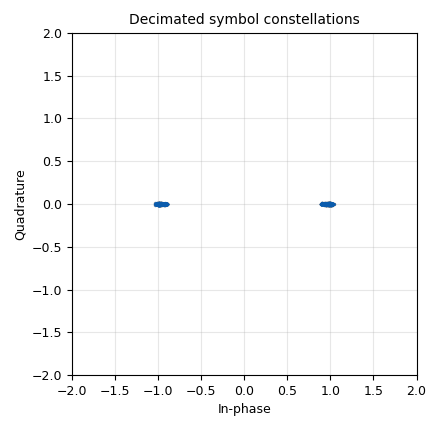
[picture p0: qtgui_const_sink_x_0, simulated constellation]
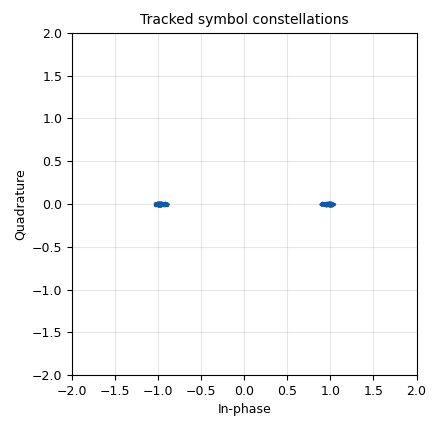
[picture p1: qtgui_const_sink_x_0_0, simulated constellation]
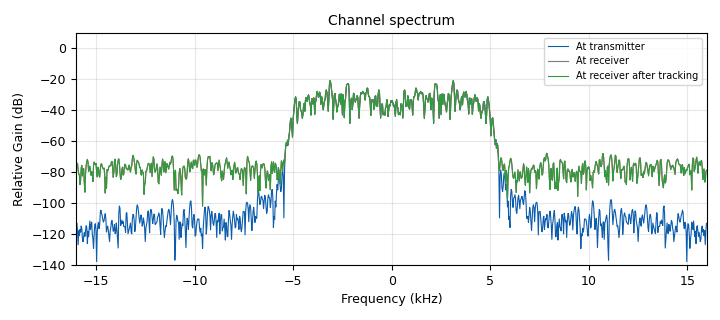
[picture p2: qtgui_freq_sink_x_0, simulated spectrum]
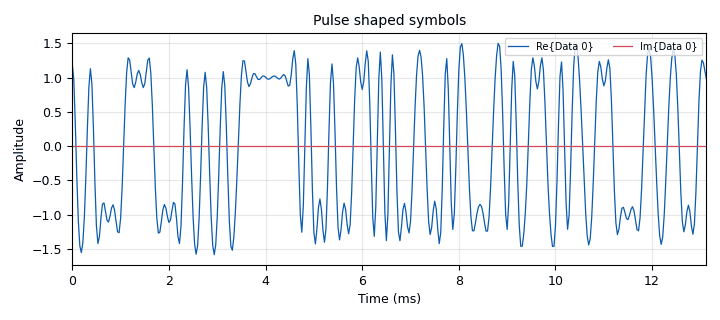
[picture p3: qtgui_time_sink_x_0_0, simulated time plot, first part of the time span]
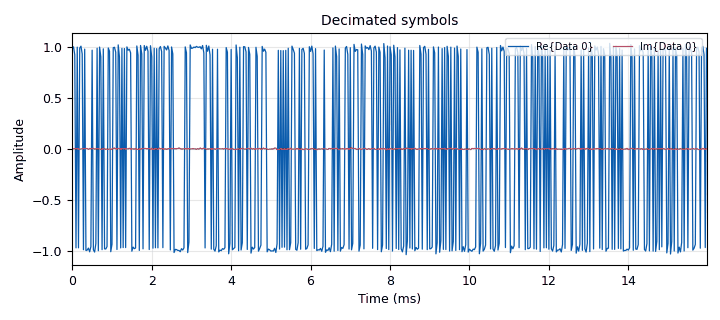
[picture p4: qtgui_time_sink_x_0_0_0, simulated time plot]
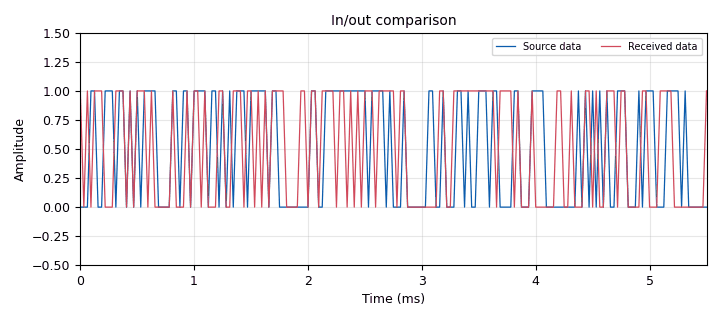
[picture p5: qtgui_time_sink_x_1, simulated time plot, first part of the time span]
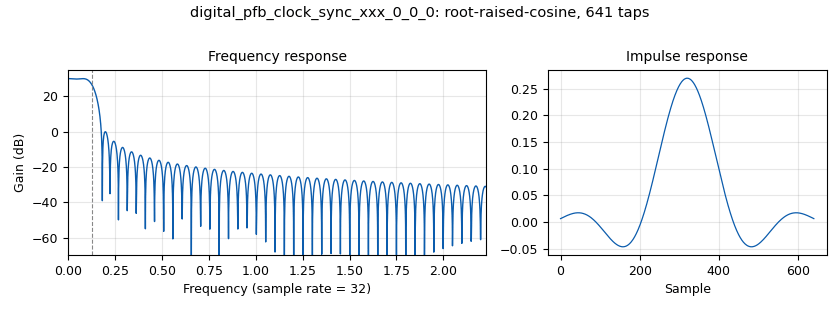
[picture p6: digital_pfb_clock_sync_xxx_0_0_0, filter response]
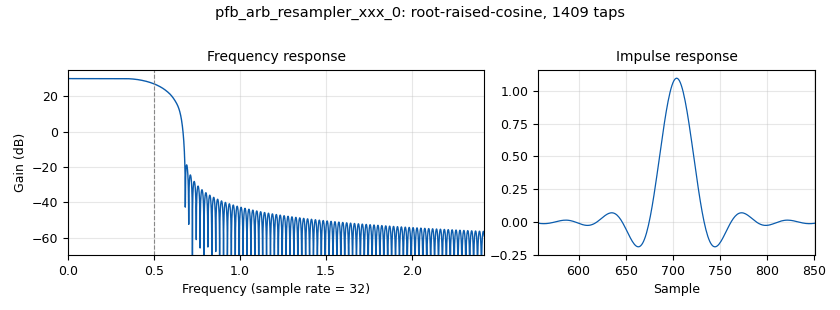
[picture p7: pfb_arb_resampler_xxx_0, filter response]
<?xml version='1.0' encoding='utf-8'?>
<?grc format='1' created='3.7.11'?>
<flow_graph>
<block>
<key>options</key>
<param><key>id</key><value>top_block</value></param>
<param><key>generate_options</key><value>qt_gui</value></param>
</block>
<block>
<key>variable</key>
<param><key>id</key><value>constel</value></param>
<param><key>value</key><value>digital.constellation_bpsk()</value></param>
</block>
<block>
<key>variable</key>
<param><key>id</key><value>eb</value></param>
<param><key>value</key><value>0.35</value></param>
</block>
<block>
<key>variable_qtgui_range</key>
<param><key>id</key><value>freq_offset</value></param>
<param><key>value</key><value>0</value></param>
<param><key>gui_hint</key><value>21,0,1,1</value></param>
<param><key>label</key><value>Frequency Offset</value></param>
<param><key>orient</key><value>Qt.Horizontal</value></param>
<param><key>start</key><value>-0.1</value></param>
<param><key>step</key><value>0.0001</value></param>
<param><key>stop</key><value>0.1</value></param>
<param><key>widget</key><value>slider</value></param>
</block>
<block>
<key>variable_qtgui_label</key>
<param><key>id</key><value>freq_offset_label</value></param>
<param><key>value</key><value>freq_offset</value></param>
<param><key>gui_hint</key><value>21,1,1,1</value></param>
<param><key>label</key><value>Freq offset label</value></param>
<param><key>type</key><value>real</value></param>
</block>
<block>
<key>variable</key>
<param><key>id</key><value>nfilts</value></param>
<param><key>value</key><value>32</value></param>
</block>
<block>
<key>variable_qtgui_range</key>
<param><key>id</key><value>noise</value></param>
<param><key>value</key><value>0.01</value></param>
<param><key>gui_hint</key><value>20,0,1,1</value></param>
<param><key>label</key><value>Noise</value></param>
<param><key>orient</key><value>Qt.Horizontal</value></param>
<param><key>start</key><value>0</value></param>
<param><key>step</key><value>0.005</value></param>
<param><key>stop</key><value>1</value></param>
<param><key>widget</key><value>slider</value></param>
</block>
<block>
<key>variable_qtgui_label</key>
<param><key>id</key><value>noise_label</value></param>
<param><key>value</key><value>noise</value></param>
<param><key>gui_hint</key><value>20,1,1,1</value></param>
<param><key>label</key><value>Noise</value></param>
<param><key>type</key><value>real</value></param>
</block>
<block>
<key>variable</key>
<param><key>id</key><value>padding_len</value></param>
<param><key>value</key><value>0</value></param>
</block>
<block>
<key>variable</key>
<param><key>id</key><value>payload_len</value></param>
<param><key>value</key><value>50</value></param>
</block>
<block>
<key>variable_qtgui_range</key>
<param><key>id</key><value>phase</value></param>
<param><key>value</key><value>0</value></param>
<param><key>_enabled</key><value>0</value></param>
<param><key>gui_hint</key><value>1,0,1,1</value></param>
<param><key>label</key><value>Phase offset</value></param>
<param><key>orient</key><value>Qt.Horizontal</value></param>
<param><key>start</key><value>-2*3.14</value></param>
<param><key>step</key><value>0.1</value></param>
<param><key>stop</key><value>2*3.14</value></param>
<param><key>widget</key><value>slider</value></param>
</block>
<block>
<key>variable</key>
<param><key>id</key><value>preamble</value></param>
<param><key>value</key><value>[0xac, 0xdd, 0xa4, 0xe2, 0xf2, 0x8c, 0x20, 0xfc]</value></param>
</block>
<block>
<key>variable</key>
<param><key>id</key><value>rrc_taps</value></param>
<param><key>value</key><value>firdes.root_raised_cosine(nfilts, nfilts, 1.0, eb, 11*sps*nfilts)</value></param>
</block>
<block>
<key>variable</key>
<param><key>id</key><value>rrc_taps_rx</value></param>
<param><key>value</key><value>firdes.root_raised_cosine(nfilts, nfilts, 1.0/float(sps), eb, 5*sps*nfilts)</value></param>
</block>
<block>
<key>variable_qtgui_range</key>
<param><key>id</key><value>samp_rate</value></param>
<param><key>value</key><value>32000</value></param>
<param><key>gui_hint</key><value>0,0,1,1</value></param>
<param><key>label</key><value>Sample rate</value></param>
<param><key>min_len</key><value>100</value></param>
<param><key>orient</key><value>Qt.Horizontal</value></param>
<param><key>start</key><value>1</value></param>
<param><key>step</key><value>10</value></param>
<param><key>stop</key><value>256000</value></param>
<param><key>rangeType</key><value>int</value></param>
<param><key>widget</key><value>slider</value></param>
</block>
<block>
<key>variable_qtgui_label</key>
<param><key>id</key><value>samp_rate_label</value></param>
<param><key>value</key><value>samp_rate</value></param>
<param><key>gui_hint</key><value>0,1,1,1</value></param>
<param><key>label</key><value>Sample rate</value></param>
<param><key>type</key><value>int</value></param>
</block>
<block>
<key>variable</key>
<param><key>id</key><value>sps</value></param>
<param><key>value</key><value>4</value></param>
</block>
<block>
<key>variable_qtgui_range</key>
<param><key>id</key><value>time_offset</value></param>
<param><key>value</key><value>1</value></param>
<param><key>gui_hint</key><value>20,2,1,1</value></param>
<param><key>label</key><value>Timing Offset</value></param>
<param><key>orient</key><value>Qt.Horizontal</value></param>
<param><key>start</key><value>0.995</value></param>
<param><key>step</key><value>0.00001</value></param>
<param><key>stop</key><value>1.005</value></param>
<param><key>widget</key><value>slider</value></param>
</block>
<block>
<key>variable_qtgui_label</key>
<param><key>id</key><value>time_offset_label</value></param>
<param><key>value</key><value>time_offset</value></param>
<param><key>gui_hint</key><value>20,3,1,1</value></param>
<param><key>label</key><value>Timing offset</value></param>
<param><key>type</key><value>real</value></param>
</block>
<block>
<key>analog_random_source_x</key>
<param><key>id</key><value>analog_random_source_x_0</value></param>
<param><key>max</key><value>256</value></param>
<param><key>min</key><value>0</value></param>
<param><key>num_samps</key><value>10000</value></param>
<param><key>type</key><value>byte</value></param>
<param><key>repeat</key><value>True</value></param>
</block>
<block>
<key>blocks_char_to_float</key>
<param><key>id</key><value>blocks_char_to_float_0</value></param>
<param><key>scale</key><value>1</value></param>
</block>
<block>
<key>blocks_char_to_float</key>
<param><key>id</key><value>blocks_char_to_float_1_0</value></param>
<param><key>scale</key><value>1</value></param>
</block>
<block>
<key>blocks_delay</key>
<param><key>id</key><value>blocks_delay_0</value></param>
<param><key>delay</key><value>10</value></param>
<param><key>type</key><value>float</value></param>
</block>
<block>
<key>blocks_repack_bits_bb</key>
<param><key>id</key><value>blocks_repack_bits_bb_1</value></param>
<param><key>k</key><value>8</value></param>
<param><key>l</key><value>constel.bits_per_symbol()</value></param>
<param><key>endianness</key><value>gr.GR_LSB_FIRST</value></param>
</block>
<block>
<key>blocks_stream_to_tagged_stream</key>
<param><key>id</key><value>blocks_stream_to_tagged_stream_0</value></param>
<param><key>len_tag_key</key><value>"SYNC_TAG"</value></param>
<param><key>packet_len</key><value>150</value></param>
<param><key>type</key><value>byte</value></param>
</block>
<block>
<key>blocks_throttle</key>
<param><key>id</key><value>blocks_throttle_0</value></param>
<param><key>samples_per_second</key><value>samp_rate</value></param>
<param><key>type</key><value>complex</value></param>
</block>
<block>
<key>channels_channel_model</key>
<param><key>id</key><value>channels_channel_model_0</value></param>
<param><key>epsilon</key><value>time_offset</value></param>
<param><key>freq_offset</key><value>freq_offset</value></param>
<param><key>noise_voltage</key><value>noise</value></param>
<param><key>seed</key><value>0</value></param>
<param><key>taps</key><value>1.0</value></param>
</block>
<block>
<key>digital_chunks_to_symbols_xx</key>
<param><key>id</key><value>digital_chunks_to_symbols_xx_0_0</value></param>
<param><key>dimension</key><value>1</value></param>
<param><key>in_type</key><value>byte</value></param>
<param><key>out_type</key><value>complex</value></param>
<param><key>symbol_table</key><value>constel.points()</value></param>
</block>
<block>
<key>digital_constellation_decoder_cb</key>
<param><key>id</key><value>digital_constellation_decoder_cb_0_0</value></param>
<param><key>constellation</key><value>constel.base()</value></param>
</block>
<block>
<key>digital_costas_loop_cc</key>
<param><key>id</key><value>digital_costas_loop_cc_0</value></param>
<param><key>w</key><value>3.14*2/100</value></param>
<param><key>order</key><value>2**constel.bits_per_symbol()</value></param>
</block>
<block>
<key>digital_pfb_clock_sync_xxx</key>
<param><key>id</key><value>digital_pfb_clock_sync_xxx_0_0_0</value></param>
<param><key>filter_size</key><value>32</value></param>
<param><key>init_phase</key><value>0</value></param>
<param><key>loop_bw</key><value>3.14*2/100</value></param>
<param><key>max_dev</key><value>0.5</value></param>
<param><key>osps</key><value>1</value></param>
<param><key>sps</key><value>sps</value></param>
<param><key>taps</key><value>rrc_taps_rx</value></param>
<param><key>type</key><value>ccf</value></param>
</block>
<block>
<key>import</key>
<param><key>id</key><value>import_0</value></param>
<param><key>import</key><value>from gnuradio import digital</value></param>
</block>
<block>
<key>import</key>
<param><key>id</key><value>import_0_0</value></param>
<param><key>import</key><value>from gnuradio import filter</value></param>
</block>
<block>
<key>pfb_arb_resampler_xxx</key>
<param><key>id</key><value>pfb_arb_resampler_xxx_0</value></param>
<param><key>nfilts</key><value>32</value></param>
<param><key>rrate</key><value>sps</value></param>
<param><key>atten</key><value>100</value></param>
<param><key>taps</key><value>rrc_taps</value></param>
<param><key>type</key><value>ccf</value></param>
</block>
<block>
<key>qtgui_const_sink_x</key>
<param><key>id</key><value>qtgui_const_sink_x_0</value></param>
<param><key>name</key><value>"Decimated symbol constellations"</value></param>
<param><key>size</key><value>1024</value></param>
<param><key>type</key><value>complex</value></param>
</block>
<block>
<key>qtgui_const_sink_x</key>
<param><key>id</key><value>qtgui_const_sink_x_0_0</value></param>
<param><key>name</key><value>"Tracked symbol constellations"</value></param>
<param><key>size</key><value>1024</value></param>
<param><key>type</key><value>complex</value></param>
</block>
<block>
<key>qtgui_freq_sink_x</key>
<param><key>id</key><value>qtgui_freq_sink_x_0</value></param>
<param><key>bw</key><value>samp_rate</value></param>
<param><key>fc</key><value>0</value></param>
<param><key>fftsize</key><value>1024</value></param>
<param><key>gui_hint</key><value>7,0,1,2</value></param>
<param><key>label1</key><value>"At transmitter"</value></param>
<param><key>color2</key><value>"cyan"</value></param>
<param><key>label2</key><value>"At receiver"</value></param>
<param><key>label3</key><value>"At receiver after tracking"</value></param>
<param><key>name</key><value>"Channel spectrum"</value></param>
<param><key>nconnections</key><value>3</value></param>
<param><key>showports</key><value>True</value></param>
<param><key>type</key><value>complex</value></param>
<param><key>wintype</key><value>firdes.WIN_BLACKMAN_hARRIS</value></param>
</block>
<block>
<key>qtgui_time_sink_x</key>
<param><key>id</key><value>qtgui_time_sink_x_0_0</value></param>
<param><key>autoscale</key><value>True</value></param>
<param><key>entags</key><value>False</value></param>
<param><key>gui_hint</key><value>4,2,1,2</value></param>
<param><key>color1</key><value>"blue"</value></param>
<param><key>label1</key><value></value></param>
<param><key>color2</key><value>"red"</value></param>
<param><key>label2</key><value></value></param>
<param><key>name</key><value>"Pulse shaped symbols"</value></param>
<param><key>size</key><value>512*4</value></param>
<param><key>srate</key><value>samp_rate</value></param>
<param><key>type</key><value>complex</value></param>
<param><key>ymax</key><value>1.5</value></param>
<param><key>ymin</key><value>-1.5</value></param>
</block>
<block>
<key>qtgui_time_sink_x</key>
<param><key>id</key><value>qtgui_time_sink_x_0_0_0</value></param>
<param><key>autoscale</key><value>True</value></param>
<param><key>entags</key><value>False</value></param>
<param><key>gui_hint</key><value>5,0,1,2</value></param>
<param><key>color1</key><value>"blue"</value></param>
<param><key>label1</key><value></value></param>
<param><key>color2</key><value>"red"</value></param>
<param><key>label2</key><value></value></param>
<param><key>name</key><value>"Decimated symbols"</value></param>
<param><key>size</key><value>512</value></param>
<param><key>srate</key><value>samp_rate</value></param>
<param><key>type</key><value>complex</value></param>
<param><key>ymax</key><value>1.5</value></param>
<param><key>ymin</key><value>-1.5</value></param>
</block>
<block>
<key>qtgui_time_sink_x</key>
<param><key>id</key><value>qtgui_time_sink_x_1</value></param>
<param><key>gui_hint</key><value>3,0,1,4</value></param>
<param><key>color1</key><value>"blue"</value></param>
<param><key>label1</key><value>"Source data"</value></param>
<param><key>color2</key><value>"red"</value></param>
<param><key>label2</key><value>"Received data"</value></param>
<param><key>name</key><value>"In/out comparison"</value></param>
<param><key>nconnections</key><value>2</value></param>
<param><key>size</key><value>512</value></param>
<param><key>srate</key><value>samp_rate</value></param>
<param><key>type</key><value>float</value></param>
<param><key>ymax</key><value>1.5</value></param>
<param><key>ymin</key><value>-0.5</value></param>
</block>
<block>
<key>virtual_sink</key>
<param><key>id</key><value>virtual_sink_0_0</value></param>
<param><key>stream_id</key><value>rx_stream</value></param>
</block>
<block>
<key>virtual_sink</key>
<param><key>id</key><value>virtual_sink_1_0_0</value></param>
<param><key>stream_id</key><value>tx_stream</value></param>
</block>
<block>
<key>virtual_sink</key>
<param><key>id</key><value>virtual_sink_2_0_0_0_0</value></param>
<param><key>stream_id</key><value>snk_data</value></param>
</block>
<block>
<key>virtual_sink</key>
<param><key>id</key><value>virtual_sink_2_0_0_0_0_0</value></param>
<param><key>stream_id</key><value>src_data</value></param>
</block>
<block>
<key>virtual_source</key>
<param><key>id</key><value>virtual_source_0</value></param>
<param><key>stream_id</key><value>src_data</value></param>
</block>
<block>
<key>virtual_source</key>
<param><key>id</key><value>virtual_source_1_0</value></param>
<param><key>stream_id</key><value>tx_stream</value></param>
</block>
<block>
<key>virtual_source</key>
<param><key>id</key><value>virtual_source_1_0_0</value></param>
<param><key>stream_id</key><value>rx_stream</value></param>
</block>
<block>
<key>virtual_source</key>
<param><key>id</key><value>virtual_source_2</value></param>
<param><key>stream_id</key><value>snk_data</value></param>
</block>
<connection><source_block_id>analog_random_source_x_0</source_block_id><sink_block_id>blocks_repack_bits_bb_1</sink_block_id><source_key>0</source_key><sink_key>0</sink_key></connection>
<connection><source_block_id>blocks_char_to_float_0</source_block_id><sink_block_id>qtgui_time_sink_x_1</sink_block_id><source_key>0</source_key><sink_key>0</sink_key></connection>
<connection><source_block_id>blocks_char_to_float_1_0</source_block_id><sink_block_id>blocks_delay_0</sink_block_id><source_key>0</source_key><sink_key>0</sink_key></connection>
<connection><source_block_id>blocks_delay_0</source_block_id><sink_block_id>qtgui_time_sink_x_1</sink_block_id><source_key>0</source_key><sink_key>1</sink_key></connection>
<connection><source_block_id>blocks_repack_bits_bb_1</source_block_id><sink_block_id>blocks_stream_to_tagged_stream_0</sink_block_id><source_key>0</source_key><sink_key>0</sink_key></connection>
<connection><source_block_id>blocks_stream_to_tagged_stream_0</source_block_id><sink_block_id>digital_chunks_to_symbols_xx_0_0</sink_block_id><source_key>0</source_key><sink_key>0</sink_key></connection>
<connection><source_block_id>blocks_stream_to_tagged_stream_0</source_block_id><sink_block_id>virtual_sink_2_0_0_0_0_0</sink_block_id><source_key>0</source_key><sink_key>0</sink_key></connection>
<connection><source_block_id>blocks_throttle_0</source_block_id><sink_block_id>channels_channel_model_0</sink_block_id><source_key>0</source_key><sink_key>0</sink_key></connection>
<connection><source_block_id>blocks_throttle_0</source_block_id><sink_block_id>qtgui_freq_sink_x_0</sink_block_id><source_key>0</source_key><sink_key>0</sink_key></connection>
<connection><source_block_id>channels_channel_model_0</source_block_id><sink_block_id>qtgui_freq_sink_x_0</sink_block_id><source_key>0</source_key><sink_key>1</sink_key></connection>
<connection><source_block_id>channels_channel_model_0</source_block_id><sink_block_id>qtgui_freq_sink_x_0</sink_block_id><source_key>0</source_key><sink_key>2</sink_key></connection>
<connection><source_block_id>channels_channel_model_0</source_block_id><sink_block_id>virtual_sink_0_0</sink_block_id><source_key>0</source_key><sink_key>0</sink_key></connection>
<connection><source_block_id>digital_chunks_to_symbols_xx_0_0</source_block_id><sink_block_id>pfb_arb_resampler_xxx_0</sink_block_id><source_key>0</source_key><sink_key>0</sink_key></connection>
<connection><source_block_id>digital_constellation_decoder_cb_0_0</source_block_id><sink_block_id>virtual_sink_2_0_0_0_0</sink_block_id><source_key>0</source_key><sink_key>0</sink_key></connection>
<connection><source_block_id>digital_costas_loop_cc_0</source_block_id><sink_block_id>digital_constellation_decoder_cb_0_0</sink_block_id><source_key>0</source_key><sink_key>0</sink_key></connection>
<connection><source_block_id>digital_costas_loop_cc_0</source_block_id><sink_block_id>qtgui_const_sink_x_0_0</sink_block_id><source_key>0</source_key><sink_key>0</sink_key></connection>
<connection><source_block_id>digital_pfb_clock_sync_xxx_0_0_0</source_block_id><sink_block_id>digital_costas_loop_cc_0</sink_block_id><source_key>0</source_key><sink_key>0</sink_key></connection>
<connection><source_block_id>digital_pfb_clock_sync_xxx_0_0_0</source_block_id><sink_block_id>qtgui_const_sink_x_0</sink_block_id><source_key>0</source_key><sink_key>0</sink_key></connection>
<connection><source_block_id>digital_pfb_clock_sync_xxx_0_0_0</source_block_id><sink_block_id>qtgui_time_sink_x_0_0_0</sink_block_id><source_key>0</source_key><sink_key>0</sink_key></connection>
<connection><source_block_id>pfb_arb_resampler_xxx_0</source_block_id><sink_block_id>qtgui_time_sink_x_0_0</sink_block_id><source_key>0</source_key><sink_key>0</sink_key></connection>
<connection><source_block_id>pfb_arb_resampler_xxx_0</source_block_id><sink_block_id>virtual_sink_1_0_0</sink_block_id><source_key>0</source_key><sink_key>0</sink_key></connection>
<connection><source_block_id>virtual_source_0</source_block_id><sink_block_id>blocks_char_to_float_0</sink_block_id><source_key>0</source_key><sink_key>0</sink_key></connection>
<connection><source_block_id>virtual_source_1_0</source_block_id><sink_block_id>blocks_throttle_0</sink_block_id><source_key>0</source_key><sink_key>0</sink_key></connection>
<connection><source_block_id>virtual_source_1_0_0</source_block_id><sink_block_id>digital_pfb_clock_sync_xxx_0_0_0</sink_block_id><source_key>0</source_key><sink_key>0</sink_key></connection>
<connection><source_block_id>virtual_source_2</source_block_id><sink_block_id>blocks_char_to_float_1_0</sink_block_id><source_key>0</source_key><sink_key>0</sink_key></connection>
</flow_graph>
